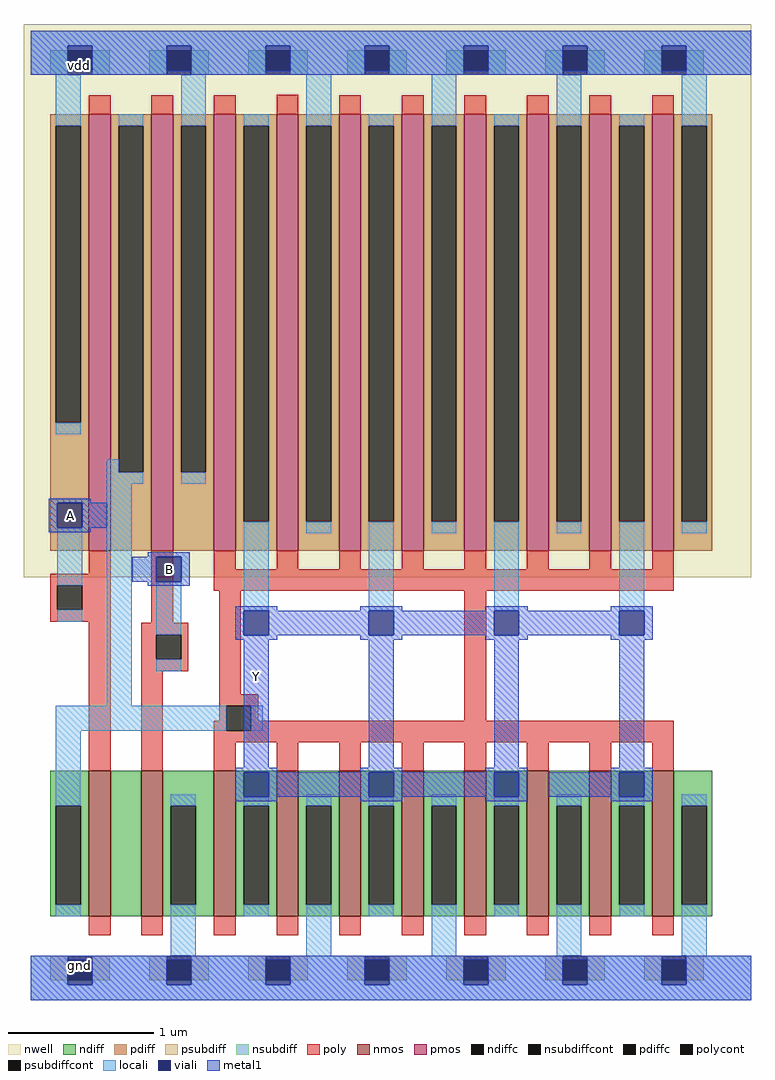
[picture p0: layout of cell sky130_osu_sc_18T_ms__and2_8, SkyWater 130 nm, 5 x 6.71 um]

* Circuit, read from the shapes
.subckt sky130_osu_sc_18T_ms__and2_8 B A Y
XM1 n1 A n2 gnd sky130_fd_pr__nfet_01v8 w=1 l=0.15
XM2 gnd B n1 gnd sky130_fd_pr__nfet_01v8 w=1 l=0.15
XM3 Y n2 gnd gnd sky130_fd_pr__nfet_01v8 w=1 l=0.15 m=8
XM4 n2 A vdd vdd sky130_fd_pr__pfet_01v8 w=3 l=0.15
XM5 vdd B n2 vdd sky130_fd_pr__pfet_01v8 w=3 l=0.15
XM6 Y n2 vdd vdd sky130_fd_pr__pfet_01v8 w=3 l=0.15 m=8
.ends

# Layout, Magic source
magic
tech sky130A
magscale 1 2
<< nwell >>
rect -9 581 990 1341
<< nmos >>
rect 80 115 110 315
rect 152 115 182 315
rect 252 115 282 315
rect 338 115 368 315
rect 424 115 454 315
rect 510 115 540 315
rect 596 115 626 315
rect 682 115 712 315
rect 768 115 798 315
rect 854 115 884 315
<< pmos >>
rect 80 617 110 1217
rect 166 617 196 1217
rect 252 617 282 1217
rect 338 617 368 1217
rect 424 617 454 1217
rect 510 617 540 1217
rect 596 617 626 1217
rect 682 617 712 1217
rect 768 617 798 1217
rect 854 617 884 1217
<< ndiff >>
rect 27 267 80 315
rect 27 131 35 267
rect 69 131 80 267
rect 27 115 80 131
rect 110 115 152 315
rect 182 267 252 315
rect 182 131 193 267
rect 227 131 252 267
rect 182 115 252 131
rect 282 267 338 315
rect 282 131 293 267
rect 327 131 338 267
rect 282 115 338 131
rect 368 267 424 315
rect 368 131 379 267
rect 413 131 424 267
rect 368 115 424 131
rect 454 267 510 315
rect 454 131 465 267
rect 499 131 510 267
rect 454 115 510 131
rect 540 267 596 315
rect 540 131 551 267
rect 585 131 596 267
rect 540 115 596 131
rect 626 267 682 315
rect 626 131 637 267
rect 671 131 682 267
rect 626 115 682 131
rect 712 267 768 315
rect 712 131 723 267
rect 757 131 768 267
rect 712 115 768 131
rect 798 267 854 315
rect 798 131 809 267
rect 843 131 854 267
rect 798 115 854 131
rect 884 267 937 315
rect 884 131 895 267
rect 929 131 937 267
rect 884 115 937 131
<< pdiff >>
rect 27 1201 80 1217
rect 27 793 35 1201
rect 69 793 80 1201
rect 27 617 80 793
rect 110 1201 166 1217
rect 110 725 121 1201
rect 155 725 166 1201
rect 110 617 166 725
rect 196 1201 252 1217
rect 196 725 207 1201
rect 241 725 252 1201
rect 196 617 252 725
rect 282 1201 338 1217
rect 282 657 293 1201
rect 327 657 338 1201
rect 282 617 338 657
rect 368 1201 424 1217
rect 368 657 379 1201
rect 413 657 424 1201
rect 368 617 424 657
rect 454 1201 510 1217
rect 454 657 465 1201
rect 499 657 510 1201
rect 454 617 510 657
rect 540 1201 596 1217
rect 540 657 551 1201
rect 585 657 596 1201
rect 540 617 596 657
rect 626 1201 682 1217
rect 626 657 637 1201
rect 671 657 682 1201
rect 626 617 682 657
rect 712 1201 768 1217
rect 712 657 723 1201
rect 757 657 768 1201
rect 712 617 768 657
rect 798 1201 854 1217
rect 798 657 809 1201
rect 843 657 854 1201
rect 798 617 854 657
rect 884 1201 937 1217
rect 884 657 895 1201
rect 929 657 937 1201
rect 884 617 937 657
<< ndiffc >>
rect 35 131 69 267
rect 193 131 227 267
rect 293 131 327 267
rect 379 131 413 267
rect 465 131 499 267
rect 551 131 585 267
rect 637 131 671 267
rect 723 131 757 267
rect 809 131 843 267
rect 895 131 929 267
<< pdiffc >>
rect 35 793 69 1201
rect 121 725 155 1201
rect 207 725 241 1201
rect 293 657 327 1201
rect 379 657 413 1201
rect 465 657 499 1201
rect 551 657 585 1201
rect 637 657 671 1201
rect 723 657 757 1201
rect 809 657 843 1201
rect 895 657 929 1201
<< psubdiff >>
rect 27 27 51 61
rect 85 27 109 61
rect 163 27 187 61
rect 221 27 245 61
rect 299 27 323 61
rect 357 27 381 61
rect 435 27 459 61
rect 493 27 517 61
rect 571 27 595 61
rect 629 27 653 61
rect 707 27 731 61
rect 765 27 789 61
rect 843 27 867 61
rect 901 27 925 61
<< nsubdiff >>
rect 27 1271 51 1305
rect 85 1271 109 1305
rect 163 1271 187 1305
rect 221 1271 245 1305
rect 299 1271 323 1305
rect 357 1271 381 1305
rect 435 1271 459 1305
rect 493 1271 517 1305
rect 571 1271 595 1305
rect 629 1271 653 1305
rect 707 1271 731 1305
rect 765 1271 789 1305
rect 843 1271 867 1305
rect 901 1271 925 1305
<< psubdiffcont >>
rect 51 27 85 61
rect 187 27 221 61
rect 323 27 357 61
rect 459 27 493 61
rect 595 27 629 61
rect 731 27 765 61
rect 867 27 901 61
<< nsubdiffcont >>
rect 51 1271 85 1305
rect 187 1271 221 1305
rect 323 1271 357 1305
rect 459 1271 493 1305
rect 595 1271 629 1305
rect 731 1271 765 1305
rect 867 1271 901 1305
<< poly >>
rect 80 1217 110 1243
rect 166 1217 196 1243
rect 252 1217 282 1243
rect 338 1217 368 1244
rect 424 1217 454 1243
rect 510 1217 540 1243
rect 596 1217 626 1243
rect 682 1217 712 1243
rect 768 1217 798 1243
rect 854 1217 884 1243
rect 80 586 110 617
rect 27 570 110 586
rect 27 536 37 570
rect 71 536 110 570
rect 27 520 110 536
rect 80 315 110 520
rect 166 518 196 617
rect 252 592 282 617
rect 338 592 368 617
rect 424 592 454 617
rect 510 592 540 617
rect 596 592 626 617
rect 682 592 712 617
rect 768 592 798 617
rect 854 592 884 617
rect 252 562 884 592
rect 152 502 217 518
rect 152 468 173 502
rect 207 468 217 502
rect 152 452 217 468
rect 152 315 182 452
rect 259 420 289 562
rect 259 404 313 420
rect 259 384 269 404
rect 252 370 269 384
rect 303 384 313 404
rect 596 384 626 562
rect 303 370 884 384
rect 252 354 884 370
rect 252 315 282 354
rect 338 315 368 354
rect 424 315 454 354
rect 510 315 540 354
rect 596 315 626 354
rect 682 315 712 354
rect 768 315 798 354
rect 854 315 884 354
rect 80 89 110 115
rect 152 89 182 115
rect 252 89 282 115
rect 338 89 368 115
rect 424 89 454 115
rect 510 89 540 115
rect 596 89 626 115
rect 682 89 712 115
rect 768 89 798 115
rect 854 89 884 115
<< polycont >>
rect 37 536 71 570
rect 173 468 207 502
rect 269 370 303 404
<< locali >>
rect 0 1311 990 1332
rect 0 1271 51 1311
rect 85 1271 187 1311
rect 221 1271 323 1311
rect 357 1271 459 1311
rect 493 1271 595 1311
rect 629 1271 731 1311
rect 765 1271 867 1311
rect 901 1271 990 1311
rect 35 1201 69 1271
rect 35 777 69 793
rect 121 1201 155 1217
rect 105 725 121 743
rect 105 709 155 725
rect 207 1201 241 1271
rect 207 709 241 725
rect 293 1201 327 1217
rect 37 570 71 649
rect 37 520 71 536
rect 105 404 139 709
rect 173 502 207 575
rect 293 535 327 657
rect 379 1201 413 1271
rect 379 641 413 657
rect 465 1201 499 1217
rect 465 535 499 657
rect 551 1201 585 1271
rect 551 641 585 657
rect 637 1201 671 1217
rect 637 535 671 657
rect 723 1201 757 1271
rect 723 641 757 657
rect 809 1201 843 1217
rect 809 535 843 657
rect 895 1201 929 1271
rect 895 641 929 657
rect 173 452 207 468
rect 35 370 269 404
rect 303 370 319 404
rect 35 267 69 370
rect 35 115 69 131
rect 193 267 227 283
rect 193 61 227 131
rect 293 267 327 279
rect 293 115 327 131
rect 379 267 413 283
rect 379 61 413 131
rect 465 267 499 279
rect 465 115 499 131
rect 551 267 585 283
rect 551 61 585 131
rect 637 267 671 279
rect 637 115 671 131
rect 723 267 757 283
rect 723 61 757 131
rect 809 267 843 279
rect 809 115 843 131
rect 895 267 929 283
rect 895 61 929 131
rect 0 21 51 61
rect 85 21 187 61
rect 221 21 323 61
rect 357 21 459 61
rect 493 21 595 61
rect 629 21 731 61
rect 765 21 867 61
rect 901 21 990 61
rect 0 0 990 21
<< viali >>
rect 51 1305 85 1311
rect 51 1277 85 1305
rect 187 1305 221 1311
rect 187 1277 221 1305
rect 323 1305 357 1311
rect 323 1277 357 1305
rect 459 1305 493 1311
rect 459 1277 493 1305
rect 595 1305 629 1311
rect 595 1277 629 1305
rect 731 1305 765 1311
rect 731 1277 765 1305
rect 867 1305 901 1311
rect 867 1277 901 1305
rect 37 649 71 683
rect 173 575 207 609
rect 293 501 327 535
rect 465 501 499 535
rect 637 501 671 535
rect 809 501 843 535
rect 293 279 327 313
rect 465 279 499 313
rect 637 279 671 313
rect 809 279 843 313
rect 51 27 85 55
rect 51 21 85 27
rect 187 27 221 55
rect 187 21 221 27
rect 323 27 357 55
rect 323 21 357 27
rect 459 27 493 55
rect 459 21 493 27
rect 595 27 629 55
rect 595 21 629 27
rect 731 27 765 55
rect 731 21 765 27
rect 867 27 901 55
rect 867 21 901 27
<< metal1 >>
rect 0 1311 990 1332
rect 0 1277 51 1311
rect 85 1277 187 1311
rect 221 1277 323 1311
rect 357 1277 459 1311
rect 493 1277 595 1311
rect 629 1277 731 1311
rect 765 1277 867 1311
rect 901 1277 990 1311
rect 0 1271 990 1277
rect 25 683 83 689
rect 25 649 37 683
rect 71 649 105 683
rect 25 643 83 649
rect 161 609 219 615
rect 140 575 173 609
rect 207 575 219 609
rect 161 569 219 575
rect 281 535 339 541
rect 453 535 511 541
rect 625 535 683 541
rect 797 535 855 541
rect 281 501 293 535
rect 327 501 465 535
rect 499 501 637 535
rect 671 501 809 535
rect 843 501 855 535
rect 281 495 339 501
rect 453 495 511 501
rect 625 495 683 501
rect 797 495 855 501
rect 293 319 327 495
rect 465 319 499 495
rect 637 319 671 495
rect 809 319 843 495
rect 281 313 339 319
rect 453 313 511 319
rect 625 313 683 319
rect 797 313 855 319
rect 281 279 293 313
rect 327 279 465 313
rect 499 279 637 313
rect 671 279 683 313
rect 712 279 809 313
rect 843 279 855 313
rect 281 273 339 279
rect 453 273 511 279
rect 625 273 683 279
rect 797 273 855 279
rect 0 55 990 61
rect 0 21 51 55
rect 85 21 187 55
rect 221 21 323 55
rect 357 21 459 55
rect 493 21 595 55
rect 629 21 731 55
rect 765 21 867 55
rect 901 21 990 55
rect 0 0 990 21
<< labels >>
rlabel metal1 191 592 191 592 1 B
port 1 n
rlabel metal1 55 666 55 666 1 A
port 2 n
rlabel metal1 311 444 311 444 1 Y
port 3 n
rlabel viali 68 48 68 48 1 gnd
rlabel viali 68 1284 68 1284 1 vdd
<< end >>
